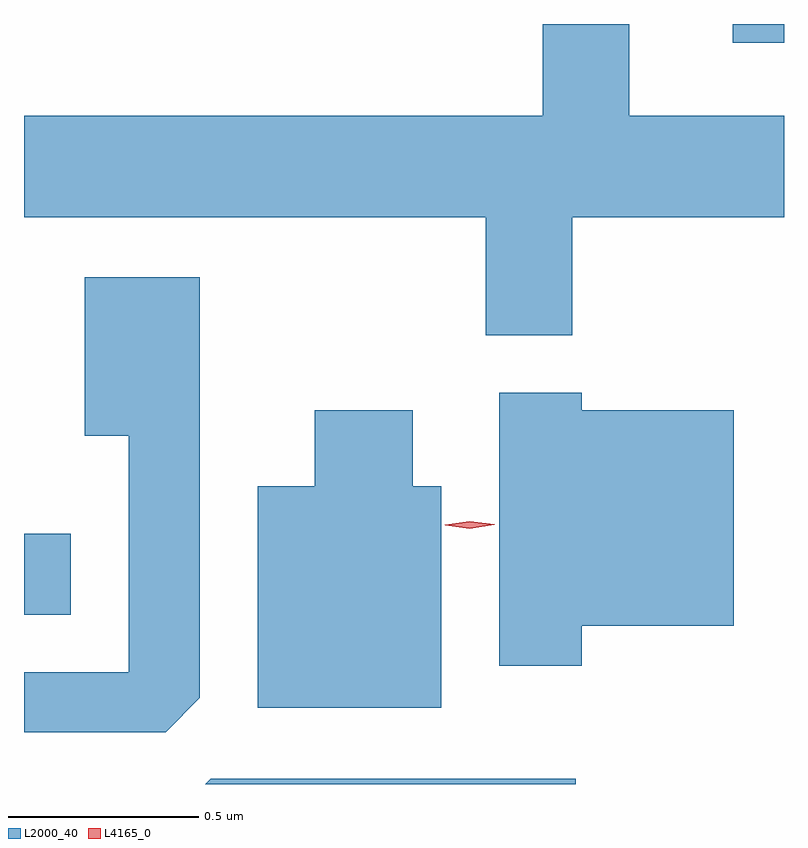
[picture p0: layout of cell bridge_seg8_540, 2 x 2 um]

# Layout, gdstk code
import gdstk
lib = gdstk.Library(unit=1e-6, precision=1e-09)
def R(c, l, rs):  # rectangles x0, y0, x1, y1
    for r in rs: c.add(gdstk.rectangle(r[:2], r[2:], *l))
def P(c, l, *ps):  # polygons
    for p in ps: c.add(gdstk.Polygon(p, *l))
L2000_40 = (2000, 40)
L4165_0 = (4165, 0)

bridge_seg8_540 = lib.new_cell('bridge_seg8_540')
R(bridge_seg8_540, L2000_40, [(402.356,1873.111,402.479,1873.324), (404.221,1874.616,404.356,1874.665)])
P(bridge_seg8_540, L2000_40, [(403.799,1874.156),(404.356,1874.156),(404.356,1874.424),(403.949,1874.424),(403.949,1874.665),(403.721,1874.665),(403.721,1874.424),(402.356,1874.424),(402.356,1874.156),(403.571,1874.156),(403.571,1873.846),(403.799,1873.846)],
  [(402.819,1872.892),(402.819,1873.999),(402.516,1873.999),(402.516,1873.581),(402.631,1873.581),(402.631,1872.959),(402.356,1872.959),(402.356,1872.801),(402.729,1872.801)],
  [(403.824,1873.081),(404.224,1873.081),(404.224,1873.649),(403.824,1873.649),(403.824,1873.694),(403.606,1873.694),(403.606,1872.976),(403.824,1872.976)],
  [(403.454,1873.449),(403.379,1873.449),(403.379,1873.649),(403.121,1873.649),(403.121,1873.449),(402.971,1873.449),(402.971,1872.866),(403.454,1872.866)],
  [(403.808,1872.679),(402.847,1872.679),(402.833,1872.665),(403.808,1872.665)])
P(bridge_seg8_540, L4165_0, [(403.529,1873.337),(403.464,1873.346),(403.463,1873.347),(403.464,1873.347),(403.529,1873.357),(403.594,1873.348),(403.595,1873.348),(403.594,1873.347)])

lib.write_gds('bridge_seg8_540.gds')
